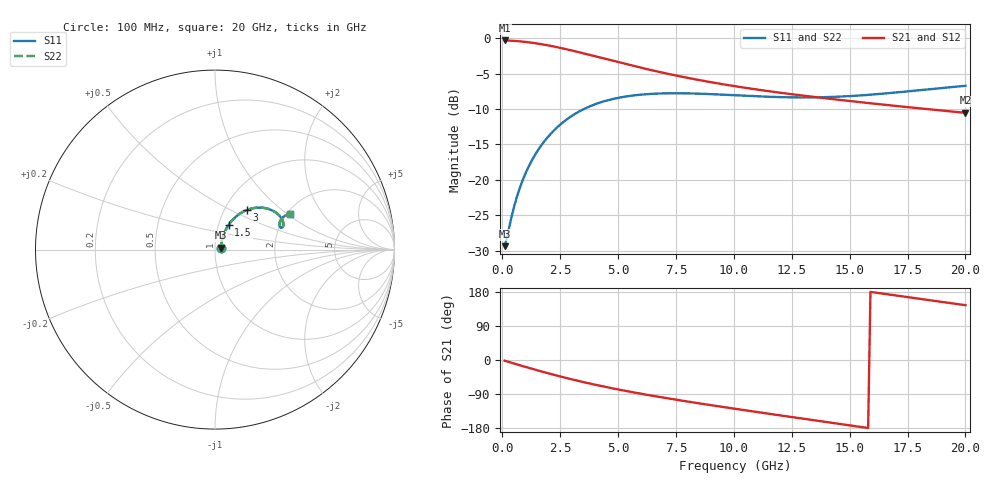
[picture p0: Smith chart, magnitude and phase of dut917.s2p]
! Touchstone file exported from HFSS 2024.1.0
!  File:  C:/UserFiles/LocalFiles/RDL_TSV_Batchsim/temp_RDL_TSV_917_1779957320.aedt
!  Generated:  04:50:35 PM May 28, 2026
!  Design:  RDL_TSV
!  Project:  temp_RDL_TSV_917_1779957320
!  Setup:  Setup1
!  Solution:  Sweep
! Variables:
!  dtsv = 5.45um
!  hbump = 3um
!  htsv = 99.36um
!  ldown = 189.23um
!  lrdl = 553.98um
!  p = 40
!  p1 = 57.53um
!  rhole = 10um
!  subl = 2783.61um
!  t = 450um
!  tdown = 2.87um
!  trdl = 2.65um
!  viad = 10um
!  wdown = 17.46um
!  wrdl = 10.93um
!  xbump = 18um
# GHz S MA R 50.000000
! Terminal data exported
! Port[1] = TM1_1_T1
! Port[2] = TM1_4_T1
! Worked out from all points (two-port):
!   200 points, 100 MHz to 20 GHz, reference 50 ohm
!   highest |S21| = -0.29 dB at 100 MHz (marker M1); lowest = -10.5 dB at 20 GHz (marker M2)
!   |S21| within 3 dB of the highest: start of sweep to 4.926 GHz
!   lowest |S11| = -29.4 dB at 100 MHz (marker M3), VSWR 1.07, Z = 53.3 + j1.12 ohm
!   |S11| at or under -10 dB: start of sweep to 3.515 GHz
!   |S22| runs from -29.4 to -6.7 dB; largest |S21 - S12| = 2.7e-14
!   S11 on the Smith chart (normalised r, x): 100 MHz: 1.07, +0.02; 1.5 GHz: 1.12, +0.32; 3 GHz: 1.27, +0.61; 20 GHz: 2.07, +1.05
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0.1  0.03396 17.9  0.9677 -1.9  0.9677 -1.9  0.03396 17.9
! Gamma 0 0 0 0
! Port Impedance 50 0 50 0
0.5  0.06365 52.9  0.9613 -9.2  0.9613 -9.2  0.06364 52.9
0.7  0.08227 57.9  0.9558 -12.9  0.9558 -12.9  0.08227 58.0
0.9  0.1013 60.3  0.9489 -16.5  0.9489 -16.5  0.1013 60.4
1.1  0.1204 61.3  0.9409 -20.0  0.9409 -20.0  0.1204 61.4
1.5  0.1583 61.0  0.9214 -27.0  0.9214 -27.0  0.1583 61.1
1.8  0.1859 59.8  0.9042 -32.0  0.9042 -32.0  0.1859 59.8
2.2  0.221 57.3  0.8787 -38.6  0.8787 -38.6  0.2211 57.3
3  0.2832 51.1  0.8221 -51.0  0.8221 -51.0  0.2834 51.2
3.5  0.3154 47.1  0.7853 -58.2  0.7853 -58.2  0.3156 47.1
4.2  0.3512 41.6  0.7345 -67.7  0.7345 -67.7  0.3516 41.7
5.1  0.3827 35.2  0.6738 -78.9  0.6738 -78.9  0.3832 35.3
5.9  0.3992 30.5  0.6257 -88.1  0.6257 -88.1  0.3998 30.5
6.8  0.408 26.1  0.5786 -97.7  0.5786 -97.7  0.4087 26.2
8.3  0.4077 21.0  0.5151 -112.5  0.5151 -112.5  0.4086 21.1
10.1  0.3961 18.3  0.458 -129.2  0.458 -129.2  0.3972 18.4
11.7  0.3859 18.5  0.4195 -143.5  0.4195 -143.5  0.387 18.5
13.4  0.383 20.5  0.3867 -158.5  0.3867 -158.5  0.3841 20.4
15  0.3911 22.9  0.3609 -172.5  0.3609 -172.5  0.3921 22.9
16.7  0.4105 25.0  0.3371 172.8  0.3371 172.8  0.4113 24.9
18.4  0.4366 25.9  0.3158 158.2  0.3158 158.2  0.4374 25.8
20  0.4626 25.6  0.2979 144.7  0.2979 144.7  0.4632 25.5
